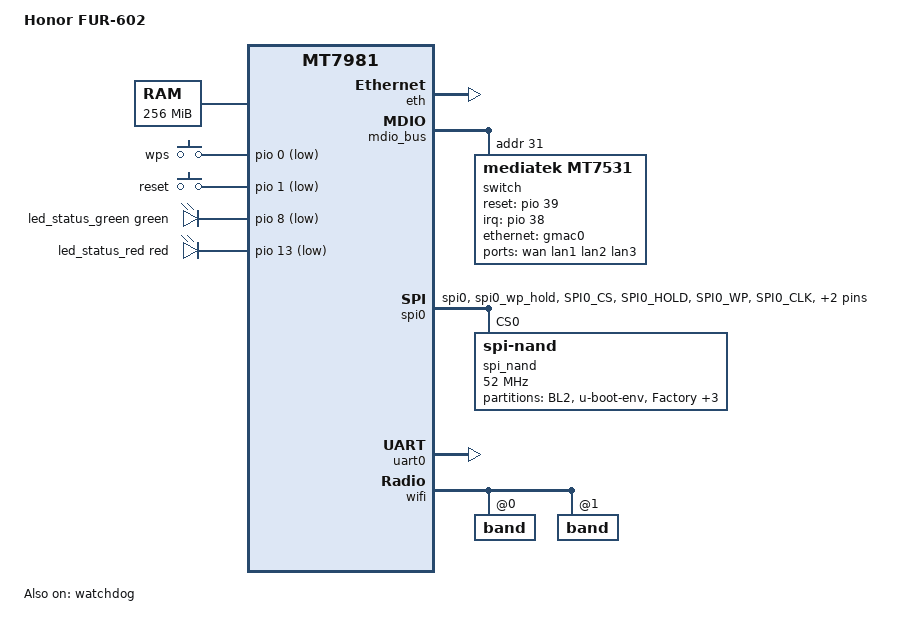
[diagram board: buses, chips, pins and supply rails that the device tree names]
// SPDX-License-Identifier: GPL-2.0-or-later OR MIT
/*
 * Honor FUR-602 (XT50 / XU50 / XC50 同方案)
 *   SoC    : MT7981B  (双核 A53 @1.3GHz)
 *   Switch : MT7531AE (DSA, port0=WAN, port1~3=LAN)
 *   RAM    : 256MB DDR3   (若为 512MB 版本，把 memory 改成 0x20000000)
 *   Flash  : 128MB SPI-NAND
 *   WiFi   : MT7976 (2.4G 574Mbps + 5G 2402Mbps, AX3000)
 *
 * 分区布局：hanwckf U-Boot "expand(114m)" 布局
 *   与 360T7 / RAX3000M-NAND ubootmod 头部一致，ubi 起点必须落在 0x580000。
 *
 * 移植自 immortalwrt openwrt-25.12 的 mt7981b-cmcc-a10.dtsi +
 * mt7981b-qihoo-360t7-common.dtsi。
 */

/dts-v1/;
#include <dt-bindings/gpio/gpio.h>
#include <dt-bindings/input/input.h>
#include <dt-bindings/leds/common.h>
#include <dt-bindings/pinctrl/mt65xx.h>

#include "mt7981b.dtsi"

/ {
	model = "Honor FUR-602";
	compatible = "honor,fur-602", "mediatek,mt7981";

	aliases {
		led-boot = &led_status_red;
		led-failsafe = &led_status_red;
		led-running = &led_status_green;
		led-upgrade = &led_status_green;

		label-mac-device = &gmac0;

		serial0 = &uart0;
	};

	chosen {
		stdout-path = "serial0:115200n8";
	};

	memory@40000000 {
		reg = <0 0x40000000 0 0x10000000>;
		device_type = "memory";
	};

	gpio-keys {
		compatible = "gpio-keys";

		button-wps {
			label = "wps";
			linux,code = <KEY_WPS_BUTTON>;
			gpios = <&pio 0 GPIO_ACTIVE_LOW>;
		};

		button-reset {
			label = "reset";
			linux,code = <KEY_RESTART>;
			gpios = <&pio 1 GPIO_ACTIVE_LOW>;
		};
	};

	gpio-leds {
		compatible = "gpio-leds";

		led_status_green: led-0 {
			function = LED_FUNCTION_STATUS;
			color = <LED_COLOR_ID_GREEN>;
			gpios = <&pio 8 GPIO_ACTIVE_LOW>;
		};

		led_status_red: led-1 {
			function = LED_FUNCTION_STATUS;
			color = <LED_COLOR_ID_RED>;
			gpios = <&pio 13 GPIO_ACTIVE_LOW>;
		};
	};
};

&eth {
	status = "okay";

	gmac0: mac@0 {
		compatible = "mediatek,eth-mac";
		reg = <0>;
		phy-mode = "2500base-x";

		/* 机身标签上的 LAN MAC */
		nvmem-cells = <&macaddr_factory_2a 0>;
		nvmem-cell-names = "mac-address";

		fixed-link {
			speed = <2500>;
			full-duplex;
			pause;
		};
	};
};

&mdio_bus {
	switch: switch@1f {
		compatible = "mediatek,mt7531";
		reg = <31>;
		reset-gpios = <&pio 39 GPIO_ACTIVE_HIGH>;
		interrupt-controller;
		#interrupt-cells = <1>;
		interrupt-parent = <&pio>;
		interrupts = <38 IRQ_TYPE_LEVEL_HIGH>;
	};
};

&pio {
	spi0_flash_pins: spi0-pins {
		mux {
			function = "spi";
			groups = "spi0", "spi0_wp_hold";
		};

		conf-pu {
			pins = "SPI0_CS", "SPI0_HOLD", "SPI0_WP";
			drive-strength = <MTK_DRIVE_8mA>;
			bias-disable;
		};

		conf-pd {
			pins = "SPI0_CLK", "SPI0_MOSI", "SPI0_MISO";
			drive-strength = <MTK_DRIVE_8mA>;
			bias-disable;
		};
	};
};

&spi0 {
	pinctrl-names = "default";
	pinctrl-0 = <&spi0_flash_pins>;
	status = "okay";

	spi_nand: flash@0 {
		compatible = "spi-nand";
		reg = <0>;

		spi-max-frequency = <52000000>;
		spi-tx-bus-width = <4>;
		spi-rx-bus-width = <4>;

		partitions: partitions {
			compatible = "fixed-partitions";
			#address-cells = <1>;
			#size-cells = <1>;

			partition@0 {
				label = "BL2";
				reg = <0x0 0x100000>;      /* 1M   @0x0000000 */
				read-only;
			};

			partition@100000 {
				label = "u-boot-env";
				reg = <0x100000 0x80000>;  /* 512K @0x0100000 */
			};

			partition@180000 {
				label = "Factory";
				reg = <0x180000 0x1e0000>; /* 1.875M @0x0180000 */
				read-only;

				nvmem-layout {
					compatible = "fixed-layout";
					#address-cells = <1>;
					#size-cells = <1>;

					eeprom_factory_0: eeprom@0 {
						reg = <0x0 0x1000>;
					};

					/* WiFi 基准 MAC（2.4G=+0, 5G=+1） */
					macaddr_factory_4: macaddr@4 {
						compatible = "mac-base";
						reg = <0x4 0x6>;
						#nvmem-cell-cells = <1>;
					};

					/* WAN MAC */
					macaddr_factory_24: macaddr@24 {
						compatible = "mac-base";
						reg = <0x24 0x6>;
						#nvmem-cell-cells = <1>;
					};

					/* LAN MAC */
					macaddr_factory_2a: macaddr@2a {
						compatible = "mac-base";
						reg = <0x2a 0x6>;
						#nvmem-cell-cells = <1>;
					};
				};
			};

			partition@360000 {
				label = "Trace";
				reg = <0x360000 0x20000>;  /* 128K @0x0360000 */
				read-only;
			};

			partition@380000 {
				label = "FIP";
				reg = <0x380000 0x200000>; /* 2M   @0x0380000 */
				read-only;
			};

			partition@580000 {
				label = "ubi";
				reg = <0x580000 0x7200000>; /* 114M @0x0580000 */
			};

			/* 0x7780000 ~ 0x8000000 (尾部 8.5M) 保持未分配，
			 * 与 hanwckf U-Boot 的 expand(114m) mtd layout 对齐。
			 */
		};
	};
};

&switch {
	ports {
		#address-cells = <1>;
		#size-cells = <0>;

		port@0 {
			reg = <0>;
			label = "wan";

			nvmem-cells = <&macaddr_factory_24 0>;
			nvmem-cell-names = "mac-address";
		};

		port@1 {
			reg = <1>;
			label = "lan1";
		};

		port@2 {
			reg = <2>;
			label = "lan2";
		};

		port@3 {
			reg = <3>;
			label = "lan3";
		};

		port@6 {
			reg = <6>;
			ethernet = <&gmac0>;
			phy-mode = "2500base-x";

			fixed-link {
				speed = <2500>;
				full-duplex;
				pause;
			};
		};
	};
};

&uart0 {
	status = "okay";
};

&watchdog {
	status = "okay";
};

&wifi {
	status = "okay";

	#address-cells = <1>;
	#size-cells = <0>;

	nvmem-cells = <&eeprom_factory_0>;
	nvmem-cell-names = "eeprom";

	band@0 {
		reg = <0>;

		nvmem-cells = <&macaddr_factory_4 0>;
		nvmem-cell-names = "mac-address";
	};

	band@1 {
		reg = <1>;

		nvmem-cells = <&macaddr_factory_4 1>;
		nvmem-cell-names = "mac-address";
	};
};
